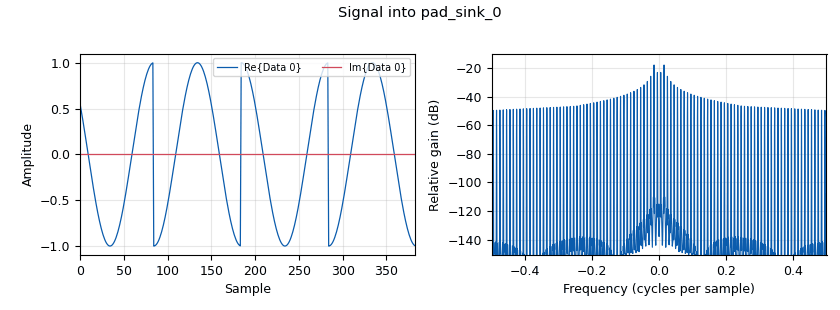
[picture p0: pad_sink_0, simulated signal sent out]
options:
  parameters:
    category: '[Radar Waveform Blocks]'
    generate_options: hb
    id: Barker_waveform
    output_language: python
    title: Barker Waveform Block
  states: {}

blocks:
- name: code_length
  id: variable_qtgui_chooser
  parameters:
    label: Length of code
    labels: '["2","3", "4",  "5", "7", "11", "13"]'
    num_opts: '0'
    options: '[2, 3, 4,5,7,11,13]'
    type: real
    value: '2'
  states: {state: disabled}
- name: interp
  id: variable
  parameters:
    value: samp_rate/samp_freq
  states: {}
- name: analog_sig_source_x_0_0
  id: analog_sig_source_x
  parameters:
    amp: '1'
    freq: samp_freq
    offset: '0'
    phase: '0'
    samp_rate: samp_rate
    type: float
    waveform: analog.GR_COS_WAVE
  states: {}
- name: analog_sig_source_x_0_0_0
  id: analog_sig_source_x
  parameters:
    amp: '1'
    freq: samp_freq
    offset: '0'
    phase: '0'
    samp_rate: samp_rate
    type: float
    waveform: analog.GR_SIN_WAVE
  states: {state: disabled}
- name: blocks_float_to_complex_0
  id: blocks_float_to_complex
  parameters: {}
  states: {}
- name: blocks_multiply_xx_0
  id: blocks_multiply_xx
  parameters:
    type: float
  states: {}
- name: blocks_multiply_xx_0_0
  id: blocks_multiply_xx
  parameters:
    type: float
  states: {state: disabled}
- name: blocks_repeat_0_0
  id: blocks_repeat
  parameters:
    interp: int(samp_rate/samp_freq)
    type: float
  states: {}
- name: blocks_vector_source_x_1
  id: blocks_vector_source_x
  parameters:
    repeat: 'True'
    type: float
    vector: (0, 0, 0)
  states: {}
- name: code_length
  id: parameter
  parameters:
    label: Length of code
    type: eng_float
    value: '2'
  states: {}
- name: epy_block_0_0
  id: epy_block
  parameters:
    _source_code: |
      """
      Embedded Python Blocks:

      Each time this file is saved, GRC will instantiate the first class it finds
      to get ports and parameters of your block. The arguments to __init__  will
      be the parameters. All of them are required to have default values!
      """

      import numpy as np
      from gnuradio import gr
      from gnuradio import blocks

      class blk(gr.sync_block):  # other base classes are basic_block, decim_block, interp_block
          """Embedded Python Block example - a simple multiply const"""

          def __init__(self, code_length = 2):  # only default arguments here
              """arguments to this function show up as parameters in GRC"""
              gr.sync_block.__init__(
                  self,
                  name='Barker Code Vector Source',   # will show up in GRC
                  in_sig=None,
                  out_sig=[np.float32]
              )
              # if an attribute with the same name as a parameter is found,
              # a callback is registered (properties work, too).
              self.code_length = code_length

          def work(self, input_items,output_items):
              """example: multiply with constant"""

              if self.code_length == 2:
                  items = np.array([1,-1])
              elif self.code_length == 3:
                  items = np.array([1,1,-1])
              elif self.code_length == 4:
                  items = np.array([1,1,-1, 1])
              elif self.code_length == 5:
                  items = np.array([1,1,1,-1,1])            
              elif self.code_length == 7:
                  items = np.array([1,1,1,-1,-1,1,-1]) 
              elif self.code_length == 11:
                  items = np.array([1,1,1,-1,-1,-1,1,-1,-1,1,-1])            
              elif self.code_length == 13:             
                  items = np.array([1,1,1,1,1,-1,-1,1,1,-1,1,-1,1])
                  
              for i in range(len(output_items[0])):
                  output_items[0][i] = items[i%self.code_length] 
              return len(output_items[0])
    code_length: code_length
  states: {}
- name: pad_sink_0
  id: pad_sink
  parameters:
    label: out
    type: complex
  states: {}
- name: samp_freq
  id: parameter
  parameters:
    label: Sampling_frequency
    type: eng_float
    value: 20e3
  states: {}
- name: samp_rate
  id: parameter
  parameters:
    label: Sampling Rate
    type: eng_float
    value: 2e6
  states: {}

connections:
- [analog_sig_source_x_0_0, '0', blocks_multiply_xx_0, '1']
- [analog_sig_source_x_0_0_0, '0', blocks_multiply_xx_0_0, '1']
- [blocks_float_to_complex_0, '0', pad_sink_0, '0']
- [blocks_multiply_xx_0, '0', blocks_float_to_complex_0, '0']
- [blocks_multiply_xx_0_0, '0', blocks_float_to_complex_0, '1']
- [blocks_repeat_0_0, '0', blocks_multiply_xx_0, '0']
- [blocks_vector_source_x_1, '0', blocks_float_to_complex_0, '1']
- [blocks_vector_source_x_1, '0', blocks_multiply_xx_0_0, '0']
- [epy_block_0_0, '0', blocks_repeat_0_0, '0']

metadata:
  file_format: 1
